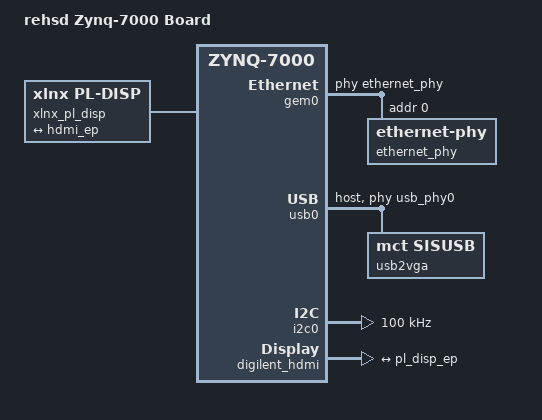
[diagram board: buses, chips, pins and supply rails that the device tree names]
/include/ "system-conf.dtsi"
#include <dt-bindings/gpio/gpio.h>
/ {
	model = "rehsd Zynq-7000 Board";
	compatible = "rehsd,zynq-7000", "xlnx,zynq-7000";
	chosen {
		bootargs = "console=ttyPS0,115200 earlyprintk root=/dev/mmcblk0p2 rw rootwait uio_pdrv_genirq.of_id=generic-uio video=usb2vga:mode=1024x768-24@30";
	};
	usb_phy0: usb_phy@0 {
		compatible = "ulpi-phy";
		#phy-cells = <0>;
		reg = <0xe0002000 0x1000>;
		view-port = <0x0170>;
		reset-gpios = <&gpio0 46 1>;
		drv-vbus;
	};
};
&gem0 {
        phy-handle = <&ethernet_phy>;
        ethernet_phy: ethernet-phy@0 {
                device_type = "ethernet-phy";
                reg = <0>;
                /* dt-bindings/phy/realtek.h */
                /* #define REALTEK_LED_LINK10              BIT(0)
                   #define REALTEK_LED_LINK100             BIT(1)
                   #define REALTEK_LED_LINK1000            BIT(3)
                   #define REALTEK_LED_ACT                 BIT(4)
                   #define REALTEK_LED_DEFAULT             BIT(7)
                */
                /* LED0=10+A, LED1=100+A, LED2=1000+A */
                realtek,leds-config = <0x11 0x12 0x18>;
        };
};
&usb0 {
   	status = "okay";
   	dr_mode = "host";
   	usb-phy = <&usb_phy0>;

	usb2vga {
		compatible = "mct, sisusb";
		vendor_id = <0x0711>;
		product_id = <0x0900>;
	};
};
&i2c0 {
    	clock-frequency = <100000>;
    	status = "okay";
};
&amba_pl {
	digilent_hdmi {
		compatible = "digilent,hdmi";
		clocks = <&axi_dynclk_0>;
		clock-names = "clk";
		digilent,edid-i2c = <&i2c0>;
		digilent,fmax = <150000>;
		port@0 { 
			hdmi_ep: endpoint { 
				remote-endpoint = <&pl_disp_ep>; 
			}; 
		}; 
	};
	xlnx_pl_disp {
		compatible = "xlnx,pl-disp";
		dmas = <&axi_vdma_0 0>; 	
		dma-names = "dma0"; 
		xlnx,vformat = "RG24"; 
		xlnx,bridge = <&v_tc_0>; 
		port@0 { 
			pl_disp_ep: endpoint { 
				remote-endpoint = <&hdmi_ep>; 
			}; 
		};
	};
};
&axi_vdma_0 {
	reg = < 0x43000000 0x10000 >;
	dma-ranges = <0x00000000 0x00000000 0x40000000>;
	xlnx,num-fstores = <0x4>;
	/*
	vdma-channel@43000000 {
		xlnx,datawidth = <0x40>;
		xlnx,device-id = <0x0>;
	} ;
	*/
};
&axi_dynclk_0 {
	compatible = "dglnt,axi-dynclk";
	#clock-cells = <0>;
	clocks = <&clkc 15>;
};
&v_tc_0 {
	compatible = "xlnx,bridge-v-tc-6.1";
	xlnx,pixels-per-clock = <1>; 
};
&axi_gpio_hdmi {
	compatible = "generic-uio";	
};

